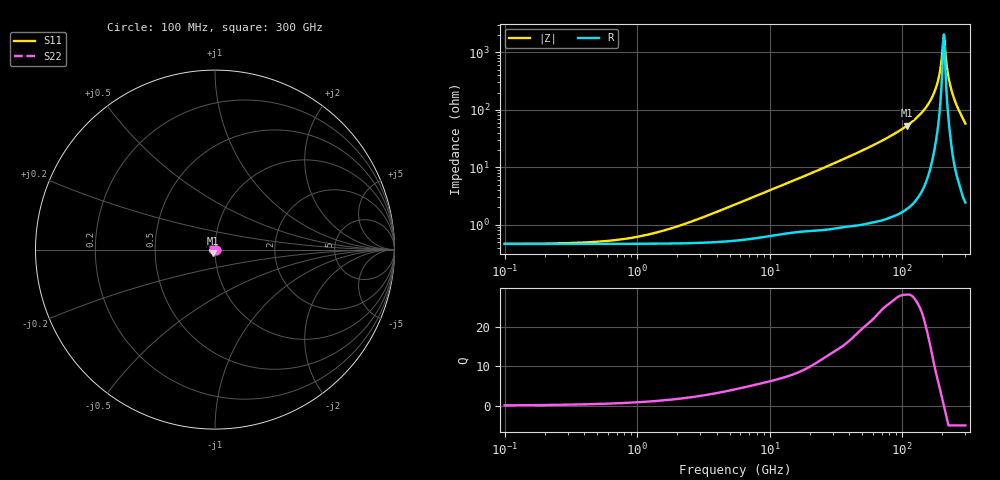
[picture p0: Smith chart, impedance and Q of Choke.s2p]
#  Hz  S  RI  R  50
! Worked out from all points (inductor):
!   3000 points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, 100 MHz to 300 GHz, reference 50 ohm
!   read as 1/Y11, port 2 shorted: L = 63.4 pH near 3.8 GHz
!   highest Q = 28.2 at 108.8 GHz (marker M1), where L = 77.7 pH
!   self-resonance near 206.4 GHz
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1e8  0.00472 2.09e-06  0.9955 -0.000796  0.9955 -0.000796  0.00472 2.09e-06
4.1e9  0.00502 4.7e-06  0.9945 -0.0325  0.9945 -0.0325  0.00502 4.66e-06
1.32e10  0.00662 -0.00163  0.9877 -0.1019  0.9877 -0.1019  0.00662 -0.00163
1.91e10  0.00703 -0.00362  0.9817 -0.1459  0.9817 -0.1459  0.00703 -0.00362
5.01e10  0.00412 -0.0126  0.9187 -0.3708  0.9187 -0.3708  0.00412 -0.0126
7.35e10  -0.000844 -0.0173  0.8376 -0.5271  0.8376 -0.5271  -0.000844 -0.0173
1.001e11  -0.00777 -0.0198  0.7135 -0.6839  0.7135 -0.6839  -0.00777 -0.0198
1.088e11  -0.01 -0.0199  0.6664 -0.7293  0.6664 -0.7293  -0.01 -0.0199
1.288e11  -0.0145 -0.0187  0.547 -0.8213  0.547 -0.8213  -0.0145 -0.0187
1.501e11  -0.0175 -0.0165  0.4056 -0.8975  0.4056 -0.8975  -0.0175 -0.0165
1.736e11  -0.0193 -0.0153  0.238 -0.9512  0.238 -0.9512  -0.0193 -0.0153
1.897e11  -0.0221 -0.0146  0.1217 -0.9702  0.1217 -0.9702  -0.0221 -0.0146
2.001e11  -0.0236 -0.0129  0.0459 -0.9757  0.0459 -0.9757  -0.0236 -0.0129
2.316e11  -0.0273 -0.00622  -0.1813 -0.9578  -0.1813 -0.9578  -0.0273 -0.00622
2.39e11  -0.0264 -0.003  -0.2348 -0.9474  -0.2348 -0.9474  -0.0264 -0.003
2.501e11  -0.023 -0.000574  -0.3149 -0.9243  -0.3149 -0.9243  -0.023 -0.000574
2.599e11  -0.0208 -0.000522  -0.3829 -0.8971  -0.3829 -0.8971  -0.0208 -0.000522
2.753e11  -0.0198 0.000658  -0.4821 -0.846  -0.4821 -0.846  -0.0198 0.000658
2.809e11  -0.0187 0.00204  -0.5176 -0.826  -0.5176 -0.826  -0.0187 0.00204
2.863e11  -0.0167 0.00307  -0.552 -0.8047  -0.552 -0.8047  -0.0167 0.00307
2.961e11  -0.0125 0.00206  -0.6115 -0.7601  -0.6115 -0.7601  -0.0125 0.00206
3e11  -0.0116 0.00098  -0.6337 -0.741  -0.6337 -0.741  -0.0116 0.00098
